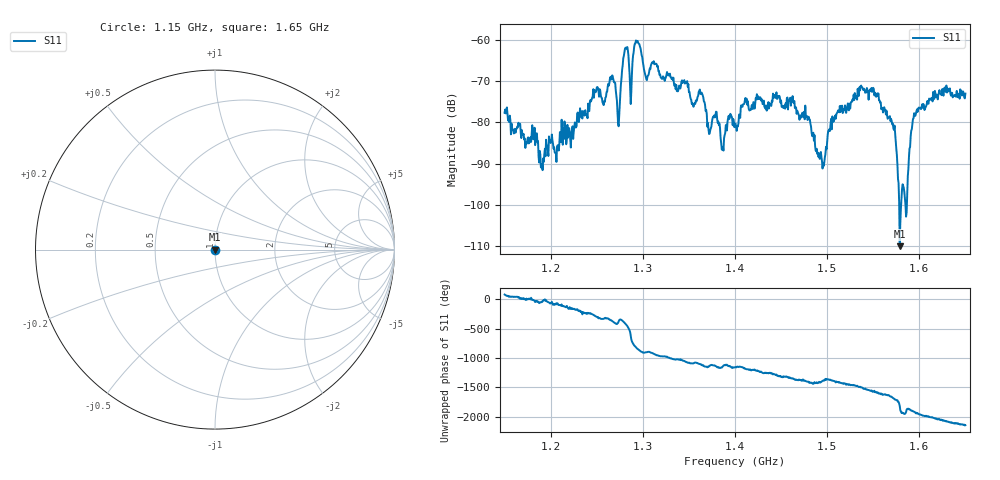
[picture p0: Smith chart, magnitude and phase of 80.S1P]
! C:\Users\rflab\Downloads\Lab5_KD_ZW\Q2\80.S1P
! Touchstone 1.1 file saved by VNA.EXE V1.65 (www.ke5fx.com/gpib/readme.htm)
! 11/12/2024 1:19:15 AM
!  Source: HEWLETT PACKARD,8753D,0,6.14
!  Min freq: 1.150000E+009 Hz
!  Max freq: 1.650000E+009 Hz
!  Points: 801
!  Params: S21
# GHZ S RI R 50
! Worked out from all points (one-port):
!   801 points, 1.15 GHz to 1.65 GHz, reference 50 ohm
!   lowest |S11| = -110.0 dB at 1.579 GHz (marker M1), VSWR 1.00, Z = 50 - j0.0001 ohm
!   |S11| at or under -10 dB: start of sweep to end of sweep
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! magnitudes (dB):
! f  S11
! 1.15 GHz  -77.6
! 1.212 GHz  -83.0
! 1.238 GHz  -77.0
! 1.249 GHz  -72.7
! 1.258 GHz  -75.8
! 1.266 GHz  -69.4
! 1.272 GHz  -77.4
! 1.275 GHz  -75.5
! 1.281 GHz  -62.1
! 1.288 GHz  -72.5
! 1.294 GHz  -60.3
! 1.304 GHz  -69.5
! 1.312 GHz  -65.9
! 1.337 GHz  -72.4
! 1.347 GHz  -70.3
! 1.356 GHz  -75.6
! 1.363 GHz  -73.1
! 1.373 GHz  -82.7
! 1.4 GHz  -80.3
! 1.411 GHz  -74.1
! 1.462 GHz  -73.6
! 1.484 GHz  -82.9
! 1.525 GHz  -76.6
! 1.548 GHz  -71.6
! 1.579 GHz  -110.0
! 1.587 GHz  -93.1
! 1.629 GHz  -71.0
! 1.65 GHz  -73.0
